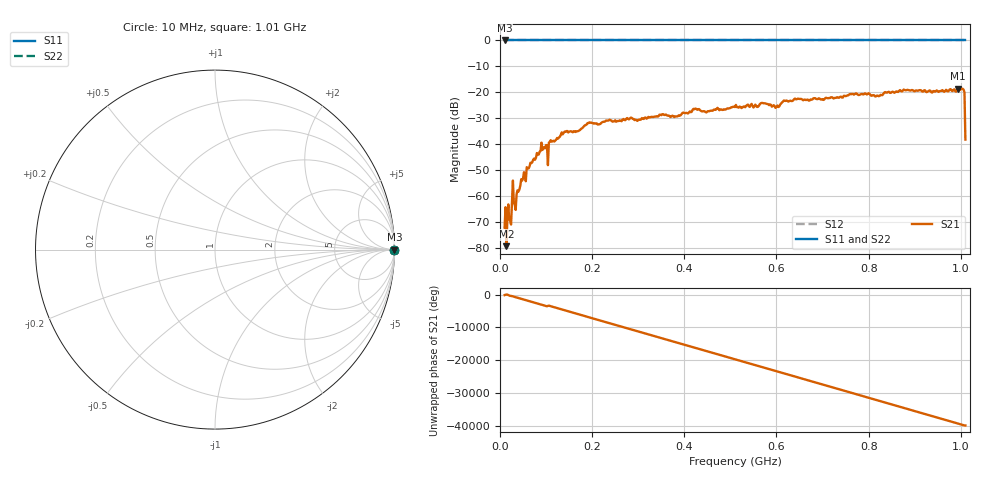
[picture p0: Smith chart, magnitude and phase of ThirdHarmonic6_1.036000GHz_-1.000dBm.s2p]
! 8/16/2025 8:55:53 AM
! C:\ANRITSUVNA\TEMP\TEMP.S2P
! CHANNEL.1
! TR.MEASUREMENT
! RAW.DATA
! RF.CORRECTION.OFF
! AVERAGING.OFF
! IF.BANDWIDTH: 5KHZ
! SWEEPTYPE:  FREQ.SWEEP(Linear)
! Reference Plane Port Info
! PORT:  PORT1  PORT2
! DISTANCE:  0  m  0  m
! TIME:  0  s  0  s
! PHASE.OFFSET:  0  deg.  0  deg.
! LOSS:  0  dB  0  dB
! REF.LOSS:  0  dB  0  dB
! REF.FREQ:  0  Hz  0  Hz
! Power Info
! POWER:  -20  dBm  -20  dBm
! EFF.POWER:  -20  dBm  -20  dBm
! SOURCE.ATTEN:  0  dB  0  dB
! TEST.ATTEN:  0  dB  0  dB
# GHZ S RI R 50.0
! FREQ.GHZ  S11RE  S11IM  S21RE  S21IM  S12RE  S12IM  S22RE  S22IM
!; PortSelection: Port_12
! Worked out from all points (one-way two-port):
!   501 points, 10 MHz to 1.01 GHz, reference 50 ohm
!   highest |S21| = -18.60 dB at 994 MHz (marker M1); lowest = -79.5 dB at 14 MHz (marker M2)
!   lowest |S11| = 0.0 dB at 10 MHz (marker M3)
!   |S11| at or under -10 dB: nowhere
!   |S22| runs from 0.0 to 0.0 dB; largest |S21 - S12| = 1.1
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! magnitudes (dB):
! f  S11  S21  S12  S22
! 10 MHz  0.0  -72.3  0.0  0.0
! 14 MHz  0.0  -79.5  0.0  0.0
! 18 MHz  0.0  -63.3  0.0  0.0
! 30 MHz  0.0  -62.8  0.0  0.0
! 36 MHz  0.0  -59.3  0.0  0.0
! 50 MHz  0.0  -53.3  0.0  0.0
! 86 MHz  0.0  -43.0  0.0  0.0
! 100 MHz  0.0  -40.4  0.0  0.0
! 110 MHz  0.0  -38.5  0.0  0.0
! 138 MHz  0.0  -35.8  0.0  0.0
! 178 MHz  0.0  -33.9  0.0  0.0
! 194 MHz  0.0  -31.6  0.0  0.0
! 344 MHz  0.0  -29.3  0.0  0.0
! 510 MHz  0.0  -25.7  0.0  0.0
! 570 MHz  0.0  -24.2  0.0  0.0
! 602 MHz  0.0  -25.1  0.0  0.0
! 618 MHz  0.0  -23.3  0.0  0.0
! 678 MHz  0.0  -22.8  0.0  0.0
! 844 MHz  0.0  -19.8  0.0  0.0
! 994 MHz  0.0  -18.6  0.0  0.0
! 1.004 GHz  0.0  -18.7  0.0  0.0
! 1.01 GHz  0.0  -38.3  0.0  0.0
